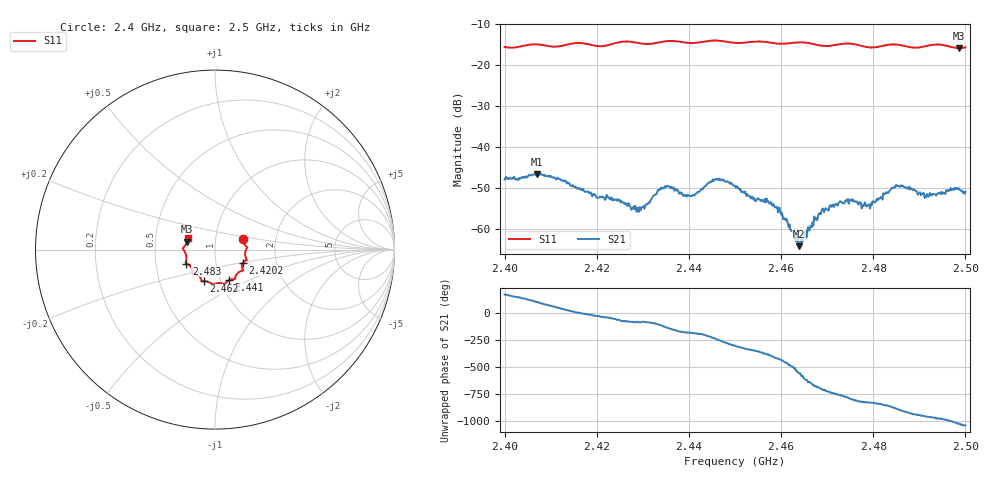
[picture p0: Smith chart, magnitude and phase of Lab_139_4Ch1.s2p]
# Hz S RI R 50
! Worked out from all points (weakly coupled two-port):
!   601 points, 2.4 GHz to 2.5 GHz, reference 50 ohm
!   highest |S21| = -46.64 dB at 2.407 GHz (marker M1); lowest = -64.3 dB at 2.4638 GHz (marker M2)
!   lowest |S11| = -15.8 dB at 2.4987 GHz (marker M3), VSWR 1.39, Z = 36.4 + j3.28 ohm
!   |S11| at or under -10 dB: start of sweep to end of sweep
!   S12 and S22 are empty: the file has one direction only
!   S11 on the Smith chart (normalised r, x): 2.4 GHz: 1.36, +0.17; 2.4202 GHz: 1.35, -0.20; 2.441 GHz: 1.10, -0.39; 2.462 GHz: 0.83, -0.30; 2.483 GHz: 0.72, -0.12; 2.5 GHz: 0.73, +0.09
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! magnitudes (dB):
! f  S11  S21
! 2.4 GHz  -15.5  -48.0
! 2.407 GHz  -14.9  -46.6
! 2.4167 GHz  -14.6  -50.6
! 2.4202 GHz  -15.3  -52.5
! 2.429 GHz  -14.6  -55.3
! 2.4333 GHz  -14.4  -50.5
! 2.4357 GHz  -14.0  -49.7
! 2.441 GHz  -14.6  -51.7
! 2.4457 GHz  -13.9  -48.0
! 2.45 GHz  -14.5  -49.5
! 2.4573 GHz  -14.4  -53.6
! 2.462 GHz  -14.6  -60.2
! 2.4638 GHz  -14.4  -64.3
! 2.4667 GHz  -14.7  -59.6
! 2.471 GHz  -15.2  -54.7
! 2.4792 GHz  -15.6  -54.4
! 2.483 GHz  -15.0  -51.3
! 2.4833 GHz  -15.0  -51.2
! 2.4858 GHz  -15.0  -49.8
! 2.4917 GHz  -15.3  -51.5
! 2.4987 GHz  -15.8  -50.2
! 2.5 GHz  -15.6  -51.0
